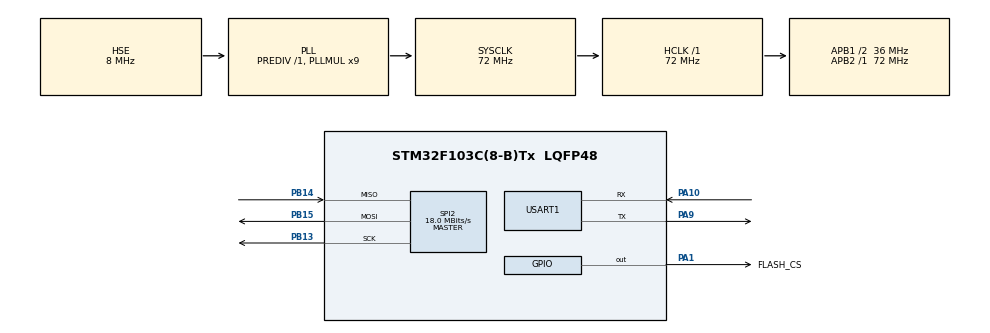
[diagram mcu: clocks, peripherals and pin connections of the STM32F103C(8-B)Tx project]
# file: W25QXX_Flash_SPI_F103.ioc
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Mcu.Family=STM32F1
Mcu.Name=STM32F103C(8-B)Tx
Mcu.Package=LQFP48
NVIC.PriorityGroup=NVIC_PRIORITYGROUP_4
PA1.GPIO_Label=FLASH_CS
PA1.PinState=GPIO_PIN_SET
PA1.Signal=GPIO_Output
PA10.Mode=Asynchronous
PA10.Signal=USART1_RX
PA13.Mode=Serial_Wire
PA13.Signal=SYS_JTMS-SWDIO
PA14.Mode=Serial_Wire
PA14.Signal=SYS_JTCK-SWCLK
PA9.Mode=Asynchronous
PA9.Signal=USART1_TX
PB13.Mode=Full_Duplex_Master
PB13.Signal=SPI2_SCK
PB14.Mode=Full_Duplex_Master
PB14.Signal=SPI2_MISO
PB15.Mode=Full_Duplex_Master
PB15.Signal=SPI2_MOSI
PD0-OSC_IN.Mode=HSE-External-Oscillator
PD0-OSC_IN.Signal=RCC_OSC_IN
PD1-OSC_OUT.Mode=HSE-External-Oscillator
PD1-OSC_OUT.Signal=RCC_OSC_OUT
ProjectManager.HeapSize=0x200
ProjectManager.StackSize=0x400
ProjectManager.TargetToolchain=TrueSTUDIO
RCC.AHBFreq_Value=72000000
RCC.APB1CLKDivider=RCC_HCLK_DIV2
RCC.APB1Freq_Value=36000000
RCC.APB1TimFreq_Value=72000000
RCC.APB2Freq_Value=72000000
RCC.APB2TimFreq_Value=72000000
RCC.HCLKFreq_Value=72000000
RCC.PLLMUL=RCC_PLL_MUL9
RCC.PLLSourceVirtual=RCC_PLLSOURCE_HSE
RCC.SYSCLKFreq_VALUE=72000000
RCC.SYSCLKSource=RCC_SYSCLKSOURCE_PLLCLK
RCC.USBFreq_Value=72000000
SPI2.CalculateBaudRate=18.0 MBits/s
SPI2.Direction=SPI_DIRECTION_2LINES
SPI2.Mode=SPI_MODE_MASTER
SPI2.VirtualType=VM_MASTER
USART1.VirtualMode=VM_ASYNC
board=custom

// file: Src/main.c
/* USER CODE BEGIN Header */
/**
  ******************************************************************************
  * @file           : main.c
  * @brief          : Main program body
  ******************************************************************************
  * @attention
  *
  * <h2><center>&copy; Copyright (c) 2020 STMicroelectronics.
  * All rights reserved.</center></h2>
  *
  * This software component is licensed by ST under BSD 3-Clause license,
  * the "License"; You may not use this file except in compliance with the
  * License. You may obtain a copy of the License at:
  *                        opensource.org/licenses/BSD-3-Clause
  *
  ******************************************************************************
  */
/* USER CODE END Header */

#include "main.h"

/* USER CODE BEGIN Includes */
#include "string.h"
#include "stdio.h"
#include "w25qxx.h"
/* USER CODE END Includes */

SPI_HandleTypeDef hspi2;

UART_HandleTypeDef huart1;

void SystemClock_Config(void);
static void MX_GPIO_Init(void);
static void MX_USART1_UART_Init(void);
static void MX_SPI2_Init(void);

int main(void)
{

  /* MCU Configuration--------------------------------------------------------*/

  /* Reset of all peripherals, Initializes the Flash interface and the Systick. */
  HAL_Init();

  /* Configure the system clock */
  SystemClock_Config();

  /* Initialize all configured peripherals */
  MX_GPIO_Init();
  MX_USART1_UART_Init();
  MX_SPI2_Init();
  /* USER CODE BEGIN 2 */

  HAL_UART_Transmit(DEBUG_UART, (uint8_t*)"Start W25QXX\n", 13, 1000);

  ///////////////////////////////////// ИНИЦИАЛИЗАЦИЯ ФЛЕШКИ ////////////////////////////////
  W25qxx_Init();

  ///////////////////////////////////// ОЧИСТКА ВСЕЙ ФЛЕШКИ ////////////////////////////////
  //W25qxx_EraseChip();

  ///////////////////////////////////// ОЧИСТКА БЛОКА ////////////////////////////////
  W25qxx_EraseBlock(0); // 65536 байт

  ///////////////////////////////////// ОЧИСТКА СЕКТОРА ////////////////////////////////
  //W25qxx_EraseSector(0); // 4096 байт

  ///////////////////////////////////// ЗАПИСЬ ПОБАЙТНО ////////////////////////////////
  uint8_t b0 = 's';
  uint8_t b1 = 't';
  uint8_t b2 = 'D';

  W25qxx_WriteByte(b0, 25);
  W25qxx_WriteByte(b1, 26);
  W25qxx_WriteByte(b2, 27);

  ///////////////////////////////////// ЧТЕНИЕ ПОБАЙТНО ////////////////////////////////
  uint8_t buf[64] = {0,};

  W25qxx_ReadByte(&buf[0], 25);
  W25qxx_ReadByte(&buf[1], 26);
  W25qxx_ReadByte(&buf[2], 27);

  HAL_UART_Transmit(DEBUG_UART, (uint8_t*)buf, strlen((char*)buf), 100);
  HAL_UART_Transmit(DEBUG_UART, (uint8_t*)"\r\n", 2, 100);

  ///////////////////////////////////// ЗАПИСЬ СТРАНИЦЫ ////////////////////////////////
  uint8_t w_buf[] = "istarik.ru";

  W25qxx_WritePage(w_buf, 0, 28, 10);

  ///////////////////////////////////// ЧТЕНИЕ СТРАНИЦЫ ////////////////////////////////
  memset(buf, 0, 64);
  W25qxx_ReadPage(buf, 0, 28, 10);

  HAL_UART_Transmit(DEBUG_UART, (uint8_t*)buf, strlen((char*)buf), 100);
  HAL_UART_Transmit(DEBUG_UART, (uint8_t*)"\r\n", 2, 100);

  ///////////////////////////////////// ЗАПИСЬ СЕКТОРА ////////////////////////////////
  W25qxx_WriteSector(w_buf, 0, 1350, 10);

  ///////////////////////////////////// ЧТЕНИЕ СЕКТОРА ////////////////////////////////
  memset(buf, 0, 64);
  W25qxx_ReadSector(buf, 0, 1350, 10);

  HAL_UART_Transmit(DEBUG_UART, (uint8_t*)buf, strlen((char*)buf), 100);
  HAL_UART_Transmit(DEBUG_UART, (uint8_t*)"\r\n", 2, 100);

  ///////////////////////////////////// ЗАПИСЬ БЛОКА ////////////////////////////////
  W25qxx_WriteBlock(w_buf, 0, 9350, 10);

  ///////////////////////////////////// ЧТЕНИЕ БЛОКА ////////////////////////////////
  memset(buf, 0, 64);
  W25qxx_ReadBlock(buf, 0, 9350, 10);

  HAL_UART_Transmit(DEBUG_UART, (uint8_t*)buf, strlen((char*)buf), 100);
  HAL_UART_Transmit(DEBUG_UART, (uint8_t*)"\r\n", 2, 100);

  /////////////////////////////////// ЧТЕНИЕ ЛЮБОГО КОЛИЧЕСТВА БАЙТ /////////////////
  memset(buf, 0, 64);
  W25qxx_ReadBytes(buf, 9350, 10);

  HAL_UART_Transmit(DEBUG_UART, (uint8_t*)buf, strlen((char*)buf), 100);
  HAL_UART_Transmit(DEBUG_UART, (uint8_t*)"\r\n", 2, 100);

  /////////////////////////////////// СТЁРТА ЛИ СТРАНИЦА /////////////////////
  uint8_t clear = W25qxx_IsEmptyPage(0, 40);

  if(clear) HAL_UART_Transmit(DEBUG_UART, (uint8_t*)"Clear P\n", 8, 100);
  else HAL_UART_Transmit(DEBUG_UART, (uint8_t*)"Not clear P\n", 12, 100);

  /////////////////////////////////// СТЁРТ ЛИ СЕКТОР //////////////////////
  clear = W25qxx_IsEmptySector(0, 1360);

  if(clear) HAL_UART_Transmit(DEBUG_UART, (uint8_t*)"Clear S\n", 8, 100);
  else HAL_UART_Transmit(DEBUG_UART, (uint8_t*)"Not clear S\n", 12, 100);

  /////////////////////////////////// СТЁРТ ЛИ БЛОК ////////////////////////
  clear = W25qxx_IsEmptyBlock(0, 9360);

  if(clear) HAL_UART_Transmit(DEBUG_UART, (uint8_t*)"Clear B\n", 8, 100);
  else HAL_UART_Transmit(DEBUG_UART, (uint8_t*)"Not clear B\n", 12, 100);

  /* USER CODE END 2 */

  /* Infinite loop */
  while (1)
  {

  }
}

void SystemClock_Config(void)
{
  RCC_OscInitTypeDef RCC_OscInitStruct = {0};
  RCC_ClkInitTypeDef RCC_ClkInitStruct = {0};

  /** Initializes the CPU, AHB and APB busses clocks
  */
  RCC_OscInitStruct.OscillatorType = RCC_OSCILLATORTYPE_HSE;
  RCC_OscInitStruct.HSEState = RCC_HSE_ON;
  RCC_OscInitStruct.HSEPredivValue = RCC_HSE_PREDIV_DIV1;
  RCC_OscInitStruct.HSIState = RCC_HSI_ON;
  RCC_OscInitStruct.PLL.PLLState = RCC_PLL_ON;
  RCC_OscInitStruct.PLL.PLLSource = RCC_PLLSOURCE_HSE;
  RCC_OscInitStruct.PLL.PLLMUL = RCC_PLL_MUL9;
  if (HAL_RCC_OscConfig(&RCC_OscInitStruct) != HAL_OK)
  {
    Error_Handler();
  }
  /** Initializes the CPU, AHB and APB busses clocks
  */
  RCC_ClkInitStruct.ClockType = RCC_CLOCKTYPE_HCLK|RCC_CLOCKTYPE_SYSCLK
                              |RCC_CLOCKTYPE_PCLK1|RCC_CLOCKTYPE_PCLK2;
  RCC_ClkInitStruct.SYSCLKSource = RCC_SYSCLKSOURCE_PLLCLK;
  RCC_ClkInitStruct.AHBCLKDivider = RCC_SYSCLK_DIV1;
  RCC_ClkInitStruct.APB1CLKDivider = RCC_HCLK_DIV2;
  RCC_ClkInitStruct.APB2CLKDivider = RCC_HCLK_DIV1;

  if (HAL_RCC_ClockConfig(&RCC_ClkInitStruct, FLASH_LATENCY_2) != HAL_OK)
  {
    Error_Handler();
  }
}

static void MX_SPI2_Init(void)
{

  /* SPI2 parameter configuration*/
  hspi2.Instance = SPI2;
  hspi2.Init.Mode = SPI_MODE_MASTER;
  hspi2.Init.Direction = SPI_DIRECTION_2LINES;
  hspi2.Init.DataSize = SPI_DATASIZE_8BIT;
  hspi2.Init.CLKPolarity = SPI_POLARITY_LOW;
  hspi2.Init.CLKPhase = SPI_PHASE_1EDGE;
  hspi2.Init.NSS = SPI_NSS_SOFT;
  hspi2.Init.BaudRatePrescaler = SPI_BAUDRATEPRESCALER_2;
  hspi2.Init.FirstBit = SPI_FIRSTBIT_MSB;
  hspi2.Init.TIMode = SPI_TIMODE_DISABLE;
  hspi2.Init.CRCCalculation = SPI_CRCCALCULATION_DISABLE;
  hspi2.Init.CRCPolynomial = 10;
  if (HAL_SPI_Init(&hspi2) != HAL_OK)
  {
    Error_Handler();
  }

}

static void MX_USART1_UART_Init(void)
{

  huart1.Instance = USART1;
  huart1.Init.BaudRate = 115200;
  huart1.Init.WordLength = UART_WORDLENGTH_8B;
  huart1.Init.StopBits = UART_STOPBITS_1;
  huart1.Init.Parity = UART_PARITY_NONE;
  huart1.Init.Mode = UART_MODE_TX_RX;
  huart1.Init.HwFlowCtl = UART_HWCONTROL_NONE;
  huart1.Init.OverSampling = UART_OVERSAMPLING_16;
  if (HAL_UART_Init(&huart1) != HAL_OK)
  {
    Error_Handler();
  }

}

static void MX_GPIO_Init(void)
{
  GPIO_InitTypeDef GPIO_InitStruct = {0};

  /* GPIO Ports Clock Enable */
  __HAL_RCC_GPIOD_CLK_ENABLE();
  __HAL_RCC_GPIOA_CLK_ENABLE();
  __HAL_RCC_GPIOB_CLK_ENABLE();

  /*Configure GPIO pin Output Level */
  HAL_GPIO_WritePin(FLASH_CS_GPIO_Port, FLASH_CS_Pin, GPIO_PIN_SET);

  /*Configure GPIO pin : FLASH_CS_Pin */
  GPIO_InitStruct.Pin = FLASH_CS_Pin;
  GPIO_InitStruct.Mode = GPIO_MODE_OUTPUT_PP;
  GPIO_InitStruct.Pull = GPIO_NOPULL;
  GPIO_InitStruct.Speed = GPIO_SPEED_FREQ_LOW;
  HAL_GPIO_Init(FLASH_CS_GPIO_Port, &GPIO_InitStruct);

}

void Error_Handler(void)
{
}

/************************ (C) COPYRIGHT STMicroelectronics *****END OF FILE****/
